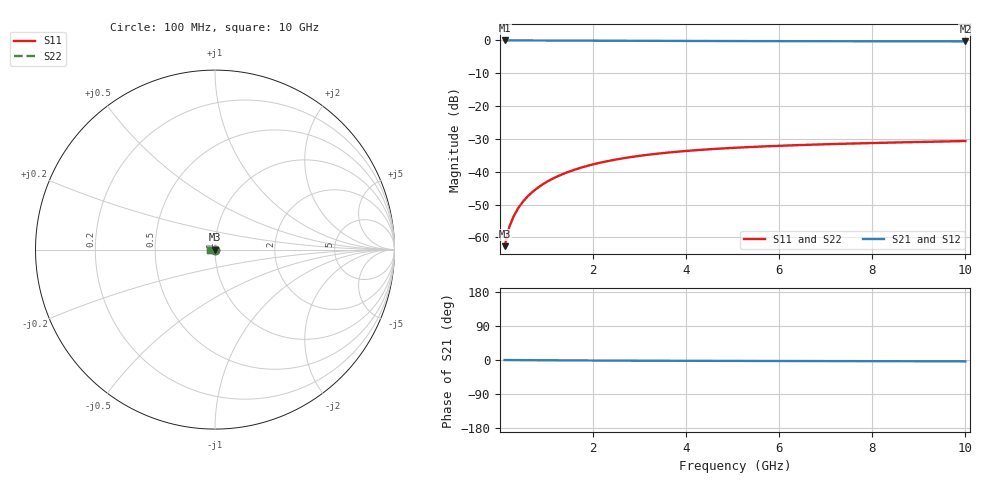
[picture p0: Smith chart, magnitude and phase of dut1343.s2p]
! Touchstone file exported from HFSS 2024.1.0
!  File:  C:/UserFiles/LocalFiles/RDL_TSV_Batchsim/temp_TSV1_1343_1780376632.aedt
!  Generated:  01:10:35 PM Jun  2, 2026
!  Design:  TSV1
!  Project:  temp_TSV1_1343_1780376632
!  Setup:  Setup1
!  Solution:  Sweep
! Variables:
!  dtsv = 8.05um
!  hbump = 3um
!  htsv = 53.26um
!  lrdl = 252.1521522um
!  p = 40
!  p1 = 40.46um
!  t = 500um
!  trdl = 3um
!  wrdl = 24.89489489um
# GHz S MA R 50.000000
! Terminal data exported
! Port[1] = TSV22_T1
! Port[2] = TSV22_T2
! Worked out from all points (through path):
!   100 points, 100 MHz to 10 GHz, reference 50 ohm
!   highest |S21| = 0.00 dB at 100 MHz (marker M1); lowest = -0.3 dB at 10 GHz (marker M2)
!   lowest |S11| = -62.7 dB at 100 MHz (marker M3), VSWR 1.00, Z = 50 - j0.0717 ohm
!   |S11| at or under -10 dB: start of sweep to end of sweep
!   |S22| runs from -62.7 to -30.6 dB; largest |S21 - S12| = 6.5e-15
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0.1  0.0007339 -77.5  0.9998 -0.1  0.9998 -0.1  0.0007339 -77.5
! Gamma 0 0 0 0
! Port Impedance 50 0 50 0
0.2  0.001434 -86.2  0.9997 -0.2  0.9997 -0.2  0.001434 -86.2
0.3  0.002139 -90.3  0.9996 -0.2  0.9996 -0.2  0.002139 -90.3
0.4  0.002844 -93.2  0.9995 -0.3  0.9995 -0.3  0.002844 -93.2
0.5  0.003546 -95.6  0.9993 -0.4  0.9993 -0.4  0.003546 -95.6
0.6  0.004244 -97.7  0.999 -0.5  0.999 -0.5  0.004244 -97.7
0.7  0.004936 -99.6  0.9987 -0.5  0.9987 -0.5  0.004936 -99.6
0.8  0.005621 -101.5  0.9984 -0.6  0.9984 -0.6  0.005621 -101.5
0.9  0.006298 -103.3  0.9981 -0.7  0.9981 -0.7  0.006298 -103.3
1.1  0.007621 -106.7  0.9973 -0.8  0.9973 -0.8  0.007621 -106.7
1.4  0.009517 -111.4  0.996 -1.0  0.996 -1.0  0.009517 -111.4
1.6  0.01071 -114.4  0.995 -1.1  0.995 -1.1  0.01071 -114.4
1.8  0.01185 -117.3  0.994 -1.3  0.994 -1.3  0.01185 -117.3
2.1  0.01345 -121.5  0.9924 -1.4  0.9924 -1.4  0.01345 -121.5
2.5  0.01537 -126.6  0.9902 -1.6  0.9902 -1.6  0.01537 -126.6
2.9  0.01706 -131.4  0.9881 -1.8  0.9881 -1.8  0.01706 -131.4
3.4  0.01889 -136.8  0.9856 -1.9  0.9856 -1.9  0.01889 -136.8
4.2  0.02124 -144.5  0.982 -2.2  0.982 -2.2  0.02124 -144.5
5.1  0.02326 -151.8  0.9787 -2.4  0.9787 -2.4  0.02326 -151.8
6.7  0.02582 -162.3  0.9742 -2.8  0.9742 -2.8  0.02582 -162.3
8.4  0.02778 -171.2  0.9711 -3.2  0.9711 -3.2  0.02778 -171.2
10  0.02935 -178.3  0.969 -3.6  0.969 -3.6  0.02935 -178.3
